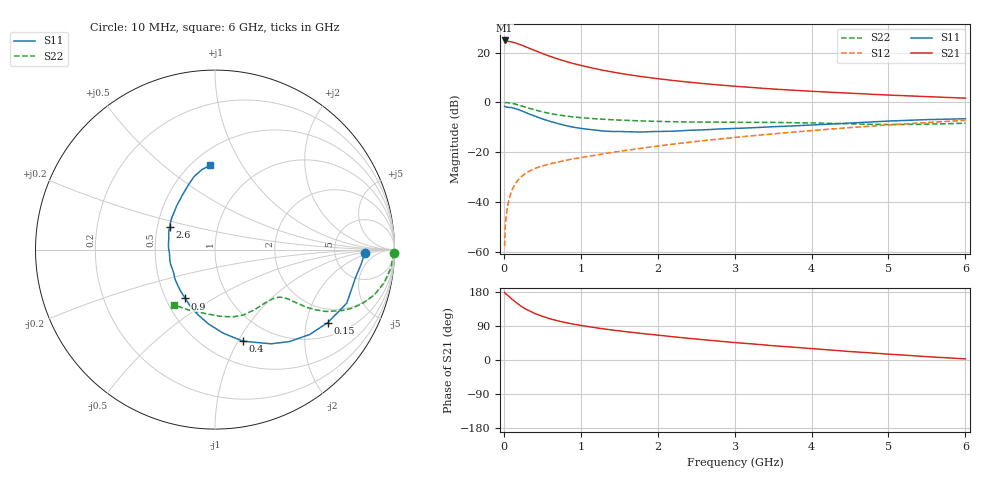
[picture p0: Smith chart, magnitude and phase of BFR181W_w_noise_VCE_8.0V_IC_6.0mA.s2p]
! Infineon Technologies  Discrete & RF Semiconductors
! BFR181W
! VCE =  8.0 V,  IC =  6.0 mA
! Common Emitter S-Parameters:  Jan 2017
# GHz  S  MA  R  50
!  f  S11  S21  S12  S22
! GHz  MAG  ANG  MAG  ANG  MAG  ANG  MAG  ANG
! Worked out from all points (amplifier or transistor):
!   77 points, 10 MHz to 6 GHz, reference 50 ohm
!   highest |S21| = 24.9 dB at 10 MHz (marker M1)
!   |S21| within 3 dB of that: start of sweep to 319.8 MHz
!   unconditionally stable (mu >= 1): 1.293 GHz to 3.207 GHz
!   at 130 MHz: K = 0.18, MSG = 28.9 dB, |S12| = -33.7 dB
!   at 2.2 GHz: K = 1.06, MAG = 11.3 dB, |S12| = -16.8 dB
!   at 6 GHz: K = 0.85, MSG = 4.5 dB, |S12| = -7.2 dB
!   lowest NFmin = 1.03 dB at 450 MHz
!   S11 on the Smith chart (normalised r, x): 10 MHz: 11, -1; 150 MHz: 1.45, -2.68; 400 MHz: 0.74, -1.05; 900 MHz: 0.63, -0.38; 2.6 GHz: 0.58, +0.16; 6 GHz: 0.61, +0.74
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0.01  0.8342 -1.3  17.51 178.3  0.0013 92.6  0.9974 -1.1
0.02  0.8186 -5.6  17.24 175.6  0.0035 101.3  0.9912 -2.1
0.04  0.8047 -9.2  17.04 172.3  0.0068 86.8  0.9874 -4.5
0.1  0.7925 -22.1  16.4 161.6  0.0165 81.1  0.9602 -11.1
0.15  0.7487 -32.9  15.62 153.4  0.0235 73.8  0.9225 -15.9
0.2  0.7084 -41.9  14.67 145.5  0.0295 70.6  0.8779 -19.8
0.25  0.6593 -51.0  13.75 138.6  0.0345 66.4  0.8319 -23.1
0.3  0.611 -59.2  12.76 132.7  0.0393 63.5  0.7857 -25.6
0.4  0.534 -72.9  11.06 122.9  0.047 60.7  0.7086 -29.1
0.5  0.4669 -84.6  9.575 115.2  0.0529 58.4  0.6464 -31.1
0.6  0.4163 -94.9  8.415 108.8  0.0586 57.8  0.5989 -32.3
0.7  0.3767 -104.3  7.456 103.5  0.0631 58.1  0.5623 -32.8
0.8  0.344 -113.6  6.699 98.9  0.0684 58.8  0.5344 -33.3
0.9  0.3186 -121.3  6.052 94.8  0.0735 58.3  0.5118 -33.7
1.1  0.2875 -136.5  5.093 88.1  0.0827 59.4  0.4807 -34.4
1.5  0.2605 -161.3  3.858 76.9  0.1039 61.5  0.4411 -37.0
2.1  0.262 170.7  2.87 63.5  0.1389 62.8  0.4129 -44.1
2.6  0.2813 153.9  2.381 53.4  0.1709 62.3  0.4028 -52.0
3.1  0.304 140.3  2.058 44.5  0.2046 60.5  0.3982 -60.2
4.1  0.3576 119.8  1.642 28.6  0.2791 55.4  0.3837 -77.3
5.1  0.4276 104.8  1.383 14.2  0.3609 47.8  0.3596 -102.0
6  0.4702 93.4  1.217 2.9  0.436 39.4  0.3831 -126.3
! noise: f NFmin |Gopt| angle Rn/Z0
0.45  1.03  0.28  16  0.22
0.9  1.07  0.26  30  0.22
1.9  1.49  0.12  82  0.19
2.4  1.65  0.1  95  0.23
